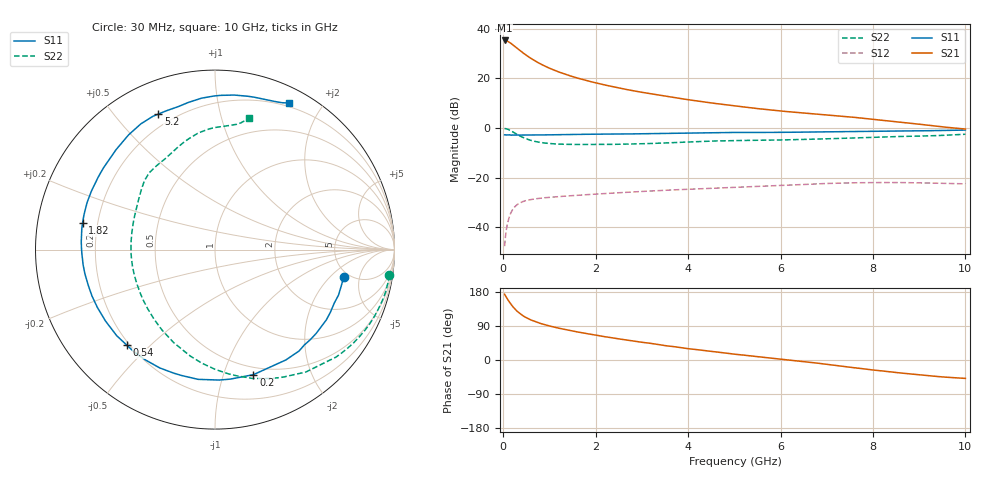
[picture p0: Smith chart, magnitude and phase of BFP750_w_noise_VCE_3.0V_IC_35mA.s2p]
! Infineon Technologies  Discrete & RF Semiconductors
! BFP750
! VCE =  3.0 V,  IC =  35 mA
! Common Emitter S-Parameters:  Jan 2016
# GHz  S  MA  R  50
!  f  S11  S21  S12  S22
! GHz  MAG  ANG  MAG  ANG  MAG  ANG  MAG  ANG
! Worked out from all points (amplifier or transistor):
!   229 points, 30 MHz to 10 GHz, reference 50 ohm
!   highest |S21| = 35.3 dB at 30 MHz (marker M1)
!   |S21| within 3 dB of that: start of sweep to 293.8 MHz
!   unconditionally stable (mu >= 1): 4.363 GHz to end of sweep
!   at 280 MHz: K = 0.14, MSG = 31.8 dB, |S12| = -31.2 dB
!   at 1.78 GHz: K = 0.63, MSG = 23.1 dB, |S12| = -26.8 dB
!   at 10 GHz: K = 1.06, MAG = 9.5 dB, |S12| = -22.4 dB
!   lowest NFmin = 0.89 dB at 450 MHz
!   S11 on the Smith chart (normalised r, x): 30 MHz: 4.43, -2.97; 200 MHz: 0.43, -1.26; 540 MHz: 0.19, -0.43; 1.82 GHz: 0.14, +0.10; 5.2 GHz: 0.14, +0.66; 10 GHz: 0.16, +1.61
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0.03  0.733 -12.2  58.36 173.5  0.0042 84.7  0.9824 -8.3
0.05  0.7334 -20.2  58.25 168.9  0.0068 80.6  0.9792 -14.2
0.08  0.7336 -32.3  57.04 163.2  0.0106 74.5  0.9629 -22.9
0.12  0.7281 -46.9  54.47 155.3  0.0152 68.3  0.931 -33.8
0.15  0.7307 -57.3  52.46 150.0  0.0183 63.6  0.9018 -41.6
0.2  0.7289 -72.9  48.49 141.7  0.0227 56.8  0.8494 -53.4
0.26  0.7272 -88.1  43.82 133.7  0.0266 50.1  0.786 -65.9
0.36  0.7258 -108.5  36.79 122.7  0.0311 41.5  0.697 -83.7
0.45  0.7267 -122.3  31.69 115.0  0.0339 36.2  0.6365 -96.7
0.54  0.7244 -132.6  27.68 109.3  0.0356 32.3  0.5898 -107.2
0.7  0.7284 -147.0  22.24 100.8  0.0378 27.6  0.5374 -123.1
0.9  0.7326 -159.4  17.77 93.0  0.0397 24.2  0.5015 -137.7
1.2  0.7395 -172.7  13.55 84.0  0.0418 21.3  0.4779 -153.6
1.7  0.7508 171.7  9.65 72.0  0.045 18.8  0.4685 -171.6
1.82  0.7527 168.6  9 69.4  0.0458 18.3  0.4681 -175.1
2.6  0.7632 151.3  6.164 53.9  0.0506 15.5  0.4753 165.5
3.4  0.7793 136.5  4.572 40.0  0.0556 12.1  0.4986 150.6
5.1  0.8188 113.9  2.743 14.2  0.0647 4.2  0.5644 129.3
5.2  0.8185 112.7  2.675 12.9  0.0653 3.7  0.5653 128.2
6.8  0.8408 97.1  1.918 -8.3  0.0754 -5.8  0.6027 111.0
8.4  0.8736 78.0  1.379 -31.7  0.0803 -20.1  0.6731 92.8
10  0.9148 63.2  0.958 -48.6  0.0756 -31.0  0.7544 75.6
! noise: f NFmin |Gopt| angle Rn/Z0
0.45  0.89  0.14  -166  0.37
0.9  0.91  0.19  -160  0.17
1.5  0.92  0.25  -158  0.08
1.9  0.94  0.27  -153  0.07
2.4  0.96  0.29  -147  0.09
3.5  1.19  0.33  -132  0.08
